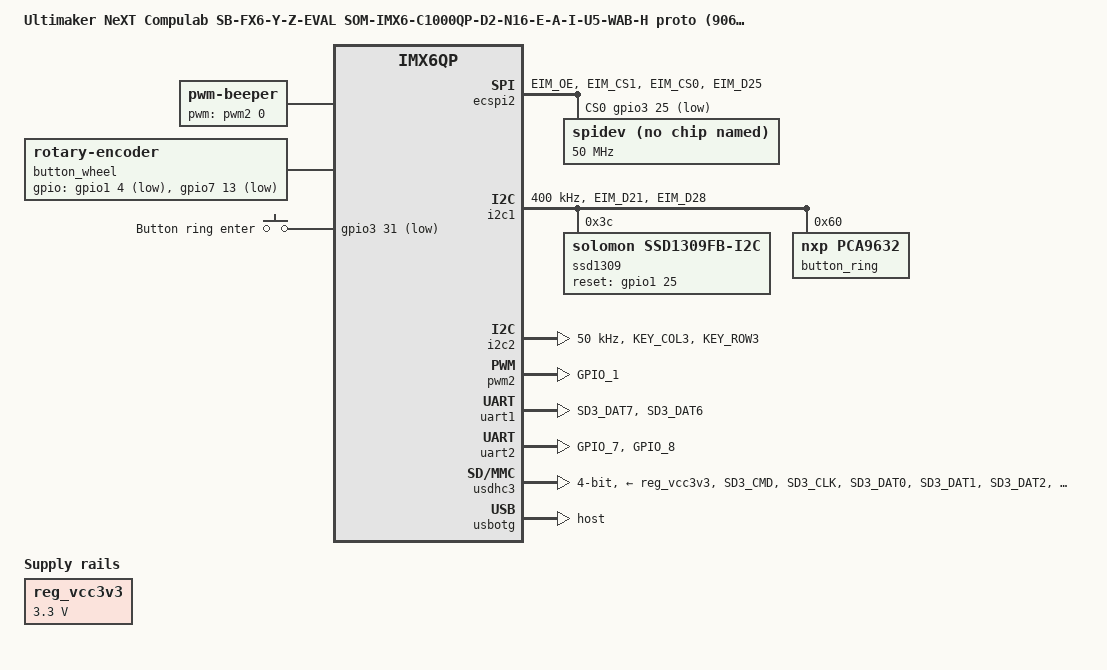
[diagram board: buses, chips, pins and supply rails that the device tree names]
/*
 * Copyright 2017 - Ultimaker B.V.
 * Author Olliver Schinagl <oliver@schinagl.nl>
 *
 * This file is dual-licensed: you can use it either under the terms
 * of the GPL or the X11 license, at your option. Note that this dual
 * licensing only applies to this file, and not this project as a
 * whole.
 *
 *  a) This file is free software; you can redistribute it and/or
 *     modify it under the terms of the GNU General Public License as
 *     published by the Free Software Foundation; either version 2 of the
 *     License, or (at your option) any later version.
 *
 *     This file is distributed in the hope that it will be useful,
 *     but WITHOUT ANY WARRANTY; without even the implied warranty of
 *     MERCHANTABILITY or FITNESS FOR A PARTICULAR PURPOSE.  See the
 *     GNU General Public License for more details.
 *
 * Or, alternatively,
 *
 *  b) Permission is hereby granted, free of charge, to any person
 *     obtaining a copy of this software and associated documentation
 *     files (the "Software"), to deal in the Software without
 *     restriction, including without limitation the rights to use,
 *     copy, modify, merge, publish, distribute, sublicense, and/or
 *     sell copies of the Software, and to permit persons to whom the
 *     Software is furnished to do so, subject to the following
 *     conditions:
 *
 *     The above copyright notice and this permission notice shall be
 *     included in all copies or substantial portions of the Software.
 *
 *     THE SOFTWARE IS PROVIDED "AS IS", WITHOUT WARRANTY OF ANY KIND,
 *     EXPRESS OR IMPLIED, INCLUDING BUT NOT LIMITED TO THE WARRANTIES
 *     OF MERCHANTABILITY, FITNESS FOR A PARTICULAR PURPOSE AND
 *     NONINFRINGEMENT. IN NO EVENT SHALL THE AUTHORS OR COPYRIGHT
 *     HOLDERS BE LIABLE FOR ANY CLAIM, DAMAGES OR OTHER LIABILITY,
 *     WHETHER IN AN ACTION OF CONTRACT, TORT OR OTHERWISE, ARISING
 *     FROM, OUT OF OR IN CONNECTION WITH THE SOFTWARE OR THE USE OR
 *     OTHER DEALINGS IN THE SOFTWARE.
 */

#include "imx6q-cm-fx6.dts"

#include <dt-bindings/gpio/gpio.h>
#include <dt-bindings/input/input.h>
#include <dt-bindings/pwm/pwm.h>

/ {
	model = "Ultimaker NeXT Compulab SB-FX6-Y-Z-EVAL SOM-IMX6-C1000QP-D2-N16-E-A-I-U5-WAB-H proto (9066-4097)";
	compatible, = "ultimaker,9066-4097","compulab,cm-fx6", "fsl,imx6qp";

	beeper {
		pwm-names ="opinicus-board-beeper";
		compatible = "pwm-beeper";
		pwms = <&pwm2 0 500000 0>;
		status = "okay";
	};

	button_wheel {
		pinctrl-names = "default";
		pinctrl-0 = <&button_wheel_pins_a>;
		compatible = "rotary-encoder";
		gpios = <&gpio1 4 GPIO_ACTIVE_LOW>, <&gpio7 13 GPIO_ACTIVE_LOW>;
		linux,axis = <8>; /* REL_Z */
		rotary-encoder,relative-axis;
		rotary-encoder,steps-per-period = <4>;
		status = "okay";
	};

	button_center {
		pinctrl-names = "default";
		pinctrl-0 = <&button_center_pins_a>;
		compatible = "gpio-keys";
		status = "okay";

		button_enter {
			label = "Button ring enter";
			gpios = <&gpio3 31 GPIO_ACTIVE_LOW>;
			linux,code = <KEY_ENTER>;
			wakeup-source;
		};
	};

	reg_vcc3v3: vcc3v3 {
		compatible = "regulator-fixed";
		regulator-name = "vcc3v3";
		regulator-min-microvolt = <3300000>;
		regulator-max-microvolt = <3300000>;
		regulator-always-on;
	};
};

&ecspi2 {
	pinctrl-names = "default";
	pinctrl-0 = <&ecspi2_pins_a>, <&ecspi2_cs_pins>;
	cs-gpios = <&gpio3 25 GPIO_ACTIVE_LOW>;
	status = "okay";

	spidev@0 {
		compatible = "linux,spidev";
		spi-max-frequency = <50000000>;
		reg = <0>;
	};	
};

&iomuxc {
	rtos_reset_pins: rtosresetgrp {
		fsl,pins = <
			MX6QDL_PAD_EIM_D27__GPIO3_IO27		0x02030
		>;
	};

	display_reset_pins: displayresetgrp {
		fsl,pins = <
			MX6QDL_PAD_ENET_CRS_DV__GPIO1_IO25	0x02030
		>;
	};

	ecspi2_cs_pins: spi2csgrp {
		fsl,pins = <
			MX6QDL_PAD_EIM_D25__GPIO3_IO25		0x06031
		>;
	};

	ecspi2_pins_a: spi2grp {
		fsl,pins = <
			MX6QDL_PAD_EIM_OE__ECSPI2_MISO		0x10081
			MX6QDL_PAD_EIM_CS1__ECSPI2_MOSI		0x000b1
			MX6QDL_PAD_EIM_CS0__ECSPI2_SCLK		0x000b1
		>;
	};

	i2c1_pins_a: i2c1grp {
		fsl,pins = <
			MX6QDL_PAD_EIM_D21__I2C1_SCL		0x4001b8b1
			MX6QDL_PAD_EIM_D28__I2C1_SDA		0x4001b8b1
		>;
	};

	i2c2_pins_a: i2c2grp {
		fsl,pins = <
			MX6QDL_PAD_KEY_COL3__I2C2_SCL		0x4001b8b1
			MX6QDL_PAD_KEY_ROW3__I2C2_SDA		0x4001b8b1
		>;
	};

	pwm2_pins_a: pwm2grp {
		fsl,pins = <
			MX6QDL_PAD_GPIO_1__PWM2_OUT		0x0b0b1
		>;
	};

	button_wheel_pins_a: butwheelgrp {
		fsl,pins = <
			MX6QDL_PAD_GPIO_18__GPIO7_IO13		0x17001
			MX6QDL_PAD_GPIO_4__GPIO1_IO04		0x17001
		>;
	};

	button_center_pins_a: butcentgrp {
		fsl,pins = <
			MX6QDL_PAD_EIM_D31__GPIO3_IO31		0x17001
		>;
	};

	uart1_pins_a: uart1grp {
		fsl,pins = <
			MX6QDL_PAD_SD3_DAT7__UART1_TX_DATA	0x1b0b1
			MX6QDL_PAD_SD3_DAT6__UART1_RX_DATA	0x1b0b1
		>;
	};

	uart2_pins_a: uart2grp {
		fsl,pins = <
			MX6QDL_PAD_GPIO_7__UART2_TX_DATA	0x1b0b1
			MX6QDL_PAD_GPIO_8__UART2_RX_DATA	0x1b0b1
		>;
	};

	usdhc3_pins_a: usdhc3grp {
		fsl,pins = <
			MX6QDL_PAD_SD3_CMD__SD3_CMD		0x17059
			MX6QDL_PAD_SD3_CLK__SD3_CLK		0x10059
			MX6QDL_PAD_SD3_DAT0__SD3_DATA0		0x17059
			MX6QDL_PAD_SD3_DAT1__SD3_DATA1		0x17059
			MX6QDL_PAD_SD3_DAT2__SD3_DATA2		0x17059
			MX6QDL_PAD_SD3_DAT3__SD3_DATA3		0x17059
		>;
	};

	usdhc3_cs_pins: usdhc3csgrp {
		fsl,pins = <
			MX6QDL_PAD_SD3_DAT4__GPIO7_IO01		0x80000000
		>;
	};

	usdhc3_wp_pins: usdhc3wpgrp {
		fsl,pins = <
			MX6QDL_PAD_SD3_DAT5__GPIO7_IO00		0x80000000
		>;
	};

	usdhc4_pins_a: usdhc4grp {
		fsl,pins = <
			MX6QDL_PAD_SD4_CMD__SD4_CMD		0x1f071
			MX6QDL_PAD_SD4_CLK__SD4_CLK		0x11071
			MX6QDL_PAD_SD4_DAT0__SD4_DATA0		0x1f071
			MX6QDL_PAD_SD4_DAT1__SD4_DATA1		0x1f071
			MX6QDL_PAD_SD4_DAT2__SD4_DATA2		0x1f071
			MX6QDL_PAD_SD4_DAT3__SD4_DATA3		0x1f071
		/*	MX6QDL_PAD_SD4_DAT4__SD4_DATA4		0x1f071
			MX6QDL_PAD_SD4_DAT5__SD4_DATA5		0x1f071
			MX6QDL_PAD_SD4_DAT6__SD4_DATA6		0x1f071
			MX6QDL_PAD_SD4_DAT7__SD4_DATA7		0x1f071*/
		>;
	};
};

&i2c1 {
	pinctrl-names = "default";
	pinctrl-0 = <&i2c1_pins_a>;
	status = "okay";
	clock-frequency = <400000>;

	ssd1309@3c {
		compatible = "solomon,ssd1309fb-i2c";
		pinctrl-names = "default";
		pinctrl-0 = <&display_reset_pins>;
		reg = <0x3c>;
		reset-gpios = <&gpio1 25 GPIO_ACTIVE_HIGH>;
		solomon,width = <128>;
		solomon,height = <64>;
		solomon,com-invdir;
		solomon,page-offset = <0>;
		solomon,prechargep1 = <2>;
		solomon,prechargep2 = <8>;
	};

	button_ring@60 {
		compatible = "nxp,pca9632";
		#address-cells = <1>;
		#size-cells = <0>;
		reg = <0x60>;
		nxp,totem-pole;
		nxp,inverted-out;
		nxp,hw-blink;

		red@0 {
			label = "red:button_ring";
			reg = <0>;
			linux,default-trigger = "none";
		};

		green@1 {
			label = "green:button_ring";
			reg = <1>;
			linux,default-trigger = "default-on";
		};

		blue@2 {
			label = "blue:button_ring";
			reg = <2>;
			linux,default-trigger = "default-on";
		};

		unused@3 {
			label = "unused";
			reg = <3>;
			linux,default-trigger = "none";
		};
	};
};

&i2c2 {
	pinctrl-names = "default";
	pinctrl-0 = <&i2c2_pins_a>;
	status = "okay";
	clock-frequency = <50000>;
};

&pwm2 {
	pinctrl-names = "default";
	pinctrl-0 = <&pwm2_pins_a>;
	status = "okay";
};

&uart1 {
	pinctrl-names = "default";
	pinctrl-0 = <&uart1_pins_a>;
	status = "okay";
};

&uart2 {
	pinctrl-names = "default";
	pinctrl-0 = <&uart2_pins_a>;
	status = "okay";
};

&usdhc3 {
	pinctrl-names = "default";
	pinctrl-0 = <&usdhc3_pins_a>;
	vmmc-supply = <&reg_vcc3v3>;
	bus-width = <4>;
/*	wp-gpios = <&gpio7 0 GPIO_ACTIVE_LOW>; */
/*	cd-gpios = <&gpio7 1 GPIO_ACTIVE_LOW>; */
	no-1-8-v;
	status = "okay";
};

/*
&usdhc4 {
	pinctrl-names = "default";
	pinctrl-0 = <&usdhc4_pins_a>;
	vmmc-supply = <&reg_vcc3v3>;
	bus-width = <4>;
	non-removable;
	no-1-8-v;
	keep-power-in-suspend;
	status = "okay";
};
*/

&usbotg {
	dr_mode = "host";
};
